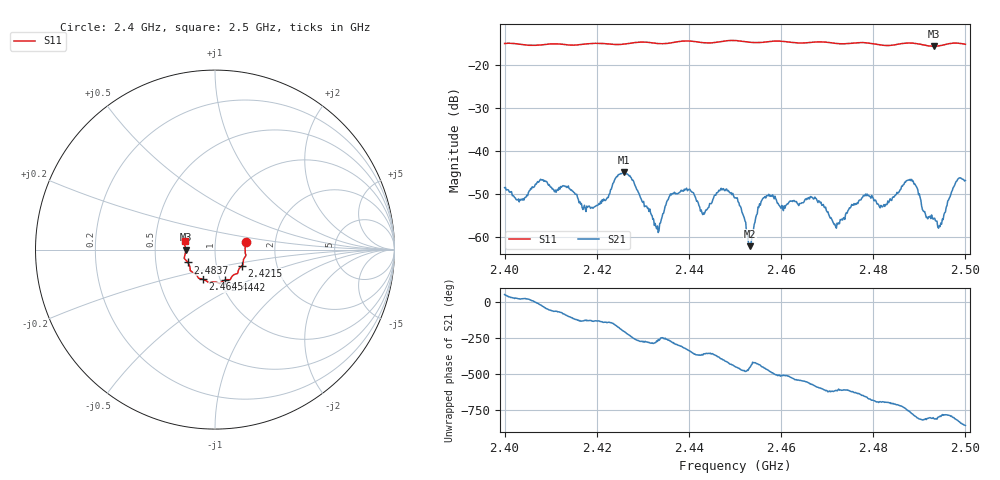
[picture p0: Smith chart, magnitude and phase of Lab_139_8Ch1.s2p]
# Hz S RI R 50
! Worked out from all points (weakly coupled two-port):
!   601 points, 2.4 GHz to 2.5 GHz, reference 50 ohm
!   highest |S21| = -45.00 dB at 2.4258 GHz (marker M1); lowest = -62.2 dB at 2.4533 GHz (marker M2)
!   lowest |S11| = -15.7 dB at 2.4932 GHz (marker M3), VSWR 1.39, Z = 35.9 - j0.0639 ohm
!   |S11| at or under -10 dB: start of sweep to end of sweep
!   S12 and S22 are empty: the file has one direction only
!   S11 on the Smith chart (normalised r, x): 2.4 GHz: 1.41, +0.12; 2.4215 GHz: 1.33, -0.25; 2.4442 GHz: 1.05, -0.37; 2.4645 GHz: 0.83, -0.29; 2.4837 GHz: 0.73, -0.11; 2.5 GHz: 0.71, +0.07
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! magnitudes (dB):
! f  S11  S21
! 2.4 GHz  -15.1  -48.6
! 2.4037 GHz  -15.3  -51.2
! 2.4082 GHz  -15.4  -46.7
! 2.4167 GHz  -15.3  -52.2
! 2.4215 GHz  -15.1  -51.2
! 2.4258 GHz  -15.2  -45.0
! 2.4333 GHz  -15.1  -59.0
! 2.4365 GHz  -14.9  -49.9
! 2.4442 GHz  -15.0  -53.2
! 2.45 GHz  -14.4  -51.0
! 2.4533 GHz  -14.8  -62.2
! 2.4565 GHz  -14.8  -50.6
! 2.4645 GHz  -15.0  -52.1
! 2.4667 GHz  -14.8  -50.8
! 2.472 GHz  -15.1  -58.0
! 2.4782 GHz  -14.9  -50.5
! 2.4833 GHz  -15.6  -52.1
! 2.4837 GHz  -15.5  -51.2
! 2.4882 GHz  -15.0  -46.9
! 2.4932 GHz  -15.7  -55.7
! 2.4945 GHz  -15.6  -57.6
! 2.5 GHz  -15.3  -46.9
